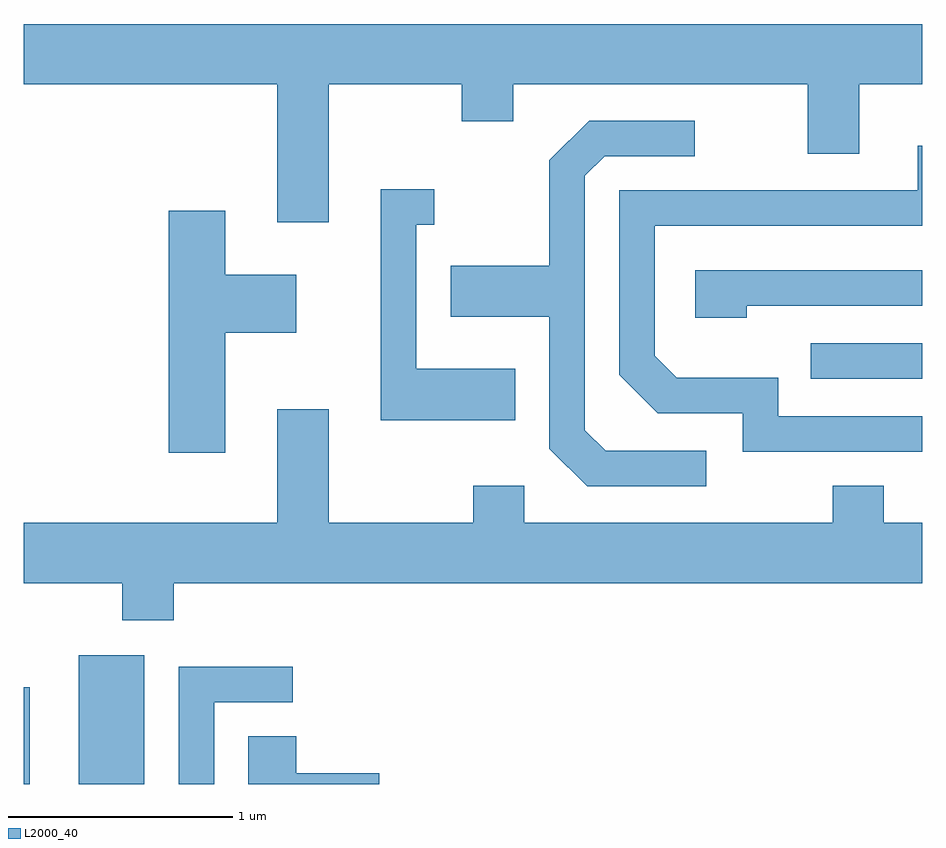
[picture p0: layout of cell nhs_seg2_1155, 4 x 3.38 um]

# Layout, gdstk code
import gdstk
lib = gdstk.Library(unit=1e-6, precision=1e-09)
def R(c, l, rs):  # rectangles x0, y0, x1, y1
    for r in rs: c.add(gdstk.rectangle(r[:2], r[2:], *l))
def P(c, l, *ps):  # polygons
    for p in ps: c.add(gdstk.Polygon(p, *l))
L2000_40 = (2000, 40)

nhs_seg2_1155 = lib.new_cell('nhs_seg2_1155')
R(nhs_seg2_1155, L2000_40, [(217.611,1111.802,217.639,1112.233), (217.856,1111.802,218.149,1112.374), (221.113,1113.606,221.611,1113.764)])
P(nhs_seg2_1155, L2000_40, [(218.969,1114.916),(219.561,1114.916),(219.561,1114.751),(219.789,1114.751),(219.789,1114.916),(221.101,1114.916),(221.101,1114.606),(221.329,1114.606),(221.329,1114.916),(221.611,1114.916),(221.611,1115.184),(217.611,1115.184),(217.611,1114.916),(218.741,1114.916),(218.741,1114.301),(218.969,1114.301)],
  [(220.648,1113.284),(220.202,1113.284),(220.109,1113.377),(220.109,1114.509),(220.197,1114.596),(220.598,1114.596),(220.598,1114.754),(220.129,1114.754),(219.951,1114.577),(219.951,1114.109),(219.511,1114.109),(219.511,1113.881),(219.951,1113.881),(219.951,1113.294),(220.119,1113.126),(220.648,1113.126)],
  [(221.611,1113.439),(220.969,1113.439),(220.969,1113.609),(220.517,1113.609),(220.419,1113.707),(220.419,1114.286),(221.611,1114.286),(221.611,1114.643),(221.591,1114.643),(221.591,1114.444),(220.261,1114.444),(220.261,1113.624),(220.434,1113.451),(220.811,1113.451),(220.811,1113.281),(221.611,1113.281)],
  [(219.799,1113.649),(219.359,1113.649),(219.359,1114.291),(219.438,1114.291),(219.438,1114.449),(219.201,1114.449),(219.201,1113.421),(219.799,1113.421)],
  [(218.509,1113.811),(218.824,1113.811),(218.824,1114.069),(218.509,1114.069),(218.509,1114.354),(218.256,1114.354),(218.256,1113.276),(218.509,1113.276)],
  [(220.829,1113.931),(221.611,1113.931),(221.611,1114.089),(220.601,1114.089),(220.601,1113.876),(220.829,1113.876)],
  [(218.279,1112.696),(221.611,1112.696),(221.611,1112.964),(221.439,1112.964),(221.439,1113.129),(221.211,1113.129),(221.211,1112.964),(219.839,1112.964),(219.839,1113.129),(219.611,1113.129),(219.611,1112.964),(218.969,1112.964),(218.969,1113.469),(218.741,1113.469),(218.741,1112.964),(217.611,1112.964),(217.611,1112.696),(218.051,1112.696),(218.051,1112.531),(218.279,1112.531)],
  [(218.459,1112.166),(218.808,1112.166),(218.808,1112.324),(218.301,1112.324),(218.301,1111.802),(218.459,1111.802)],
  [(219.194,1111.849),(218.824,1111.849),(218.824,1112.014),(218.611,1112.014),(218.611,1111.802),(219.194,1111.802)])

lib.write_gds('nhs_seg2_1155.gds')
